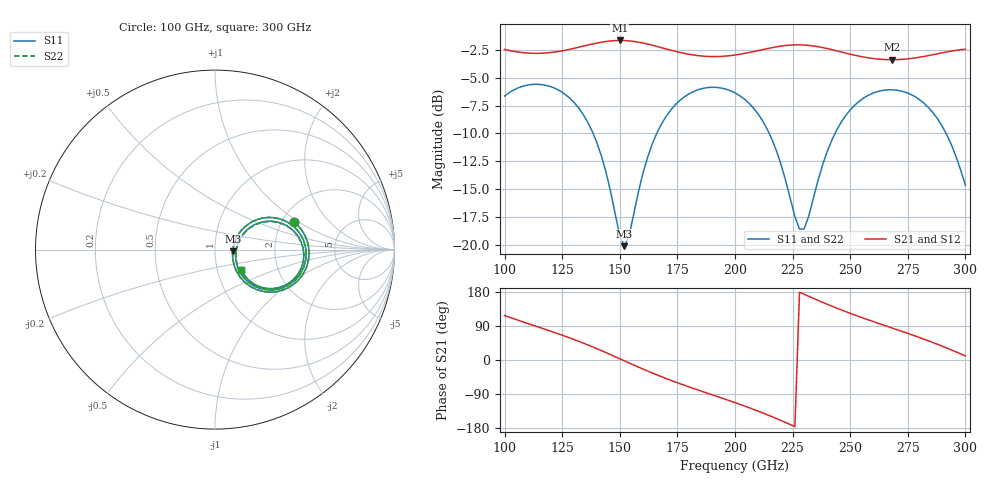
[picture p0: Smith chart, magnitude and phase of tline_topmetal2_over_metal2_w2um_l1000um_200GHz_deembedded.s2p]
! Created with skrf 2.2.0 (http://scikit-rf.org).
# GHz S DB R 50.0
! Port[1] = P1
! Port[2] = P2
!freq dBS11 angS11 dBS21 angS21 dBS12 angS12 dBS22 angS22
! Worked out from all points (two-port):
!   101 points, 100 GHz to 300 GHz, reference 50 ohm
!   highest |S21| = -1.67 dB at 150 GHz (marker M1); lowest = -3.4 dB at 268 GHz (marker M2)
!   |S21| within 3 dB of the highest: start of sweep to end of sweep
!   lowest |S11| = -20.1 dB at 152 GHz (marker M3), VSWR 1.22, Z = 60.9 - j1.13 ohm
!   |S11| at or under -10 dB: 138.4 GHz to 166 GHz (27.64 GHz wide, 18.2 % of centre); 214.8 GHz to 243.4 GHz (28.6 GHz wide, 12.5 % of centre); 291.6 GHz to end of sweep
!   |S22| runs from -20.2 to -5.6 dB; largest |S21 - S12| = 1.5e-13
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100  -6.66 19.5  -2.48 117.4  -2.48 117.4  -6.66 19.4
116  -5.63 -7.6  -2.82 84.3  -2.82 84.3  -5.63 -7.7
126  -6.46 -24.5  -2.56 63.3  -2.56 63.3  -6.46 -24.6
134  -8.27 -37.9  -2.19 45.0  -2.19 45.0  -8.27 -37.9
142  -12.01 -47.5  -1.83 24.8  -1.83 24.8  -12.02 -47.6
150  -19.16 -26.3  -1.67 3.3  -1.67 3.3  -19.21 -26.4
152  -20.10 -5.3  -1.68 -2.2  -1.68 -2.2  -20.16 -5.3
162  -12.18 37.2  -1.99 -29.0  -1.99 -29.0  -12.18 37.3
168  -9.19 31.1  -2.32 -43.9  -2.32 -43.9  -9.20 31.2
184  -6.09 5.8  -3.03 -79.3  -3.03 -79.3  -6.09 5.8
200  -6.37 -20.1  -2.98 -112.4  -2.98 -112.4  -6.36 -19.9
214  -9.63 -40.9  -2.41 -144.5  -2.41 -144.5  -9.61 -40.6
222  -14.23 -42.9  -2.13 -165.1  -2.13 -165.1  -14.16 -42.4
228  -18.57 -14.5  -2.07 178.9  -2.07 178.9  -18.38 -14.4
230  -18.55 3.0  -2.08 173.5  -2.08 173.5  -18.36 2.7
234  -15.82 26.4  -2.17 162.7  -2.17 162.7  -15.72 25.7
240  -11.63 32.2  -2.40 147.2  -2.40 147.2  -11.60 31.6
248  -8.41 24.0  -2.80 127.8  -2.80 127.8  -8.40 23.5
258  -6.57 8.9  -3.23 105.6  -3.23 105.6  -6.56 8.6
268  -6.09 -6.6  -3.40 84.8  -3.40 84.8  -6.08 -6.9
286  -8.16 -33.7  -2.95 45.8  -2.95 45.8  -8.16 -33.9
300  -14.63 -37.8  -2.46 10.8  -2.46 10.8  -14.63 -38.0
